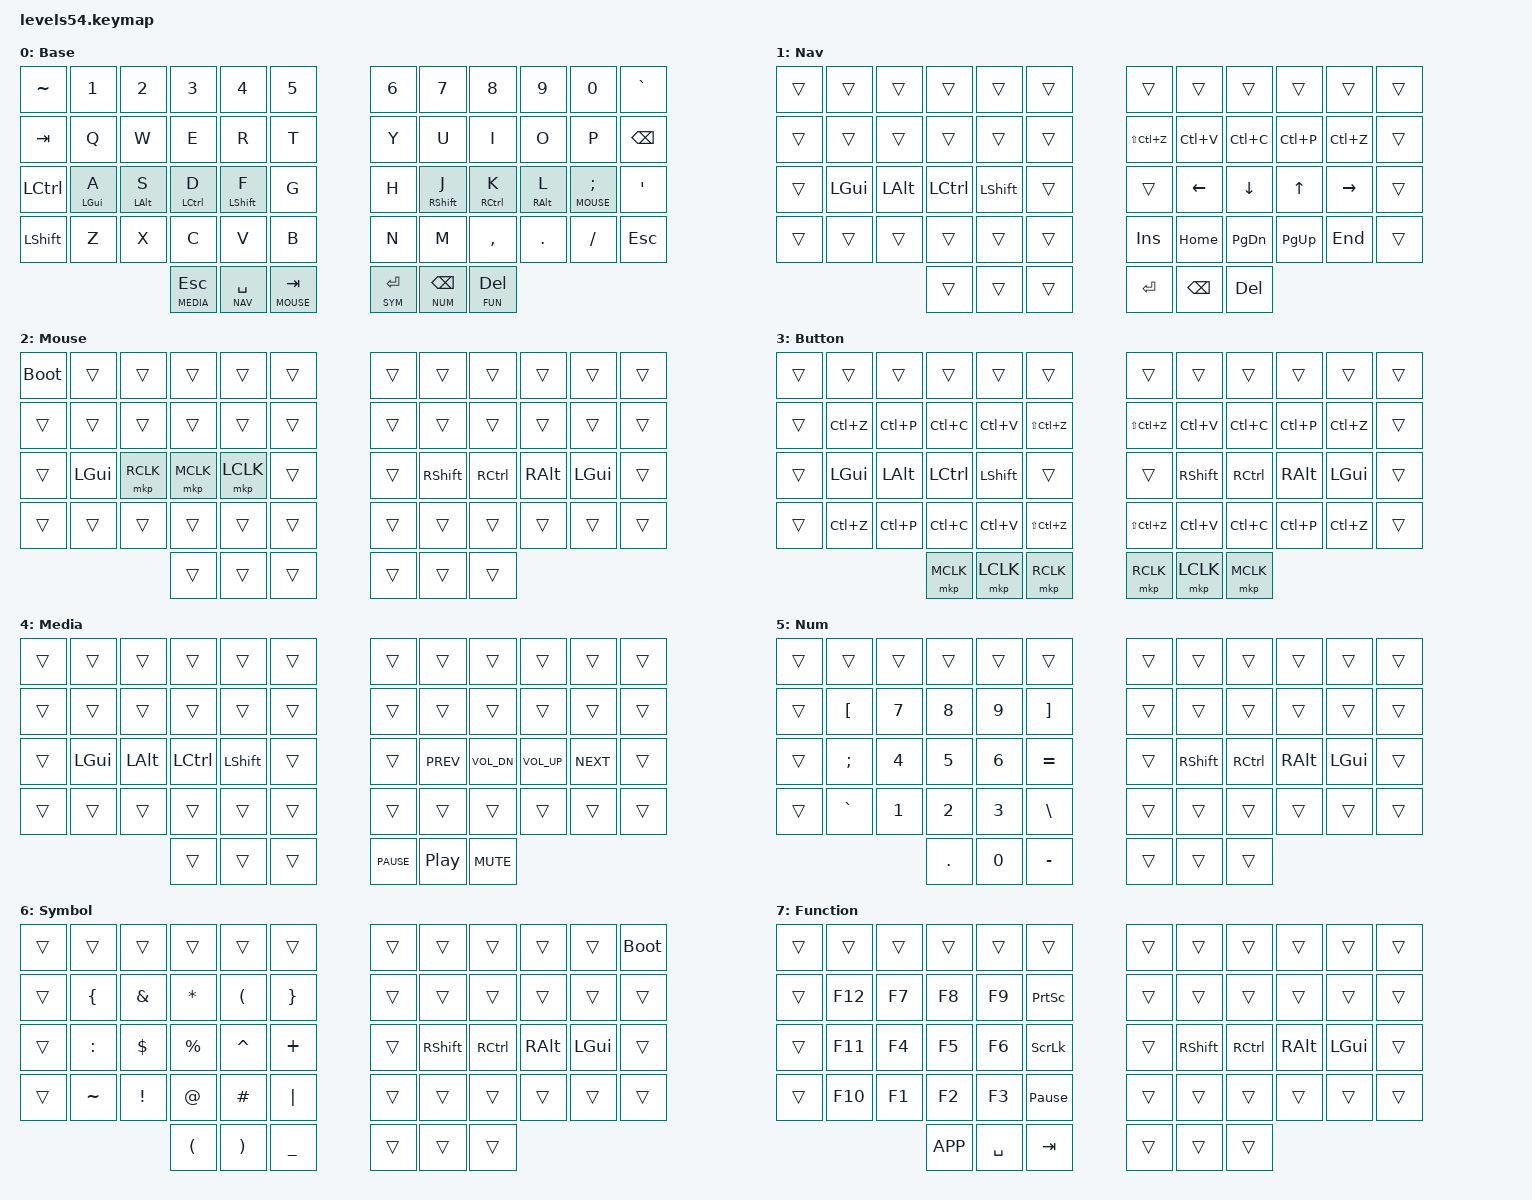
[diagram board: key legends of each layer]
#include <behaviors.dtsi>
#include <dt-bindings/zmk/bt.h>
#include <dt-bindings/zmk/keys.h>
#include <dt-bindings/zmk/outputs.h>
#include <dt-bindings/zmk/pointing.h>

#define BASE   0
#define NAV    1
#define MOUSE  2
#define BUTTON 3
#define MEDIA  4
#define NUM    5
#define SYM    6
#define FUN    7

/*
 0  1  2  3  4  5      6  7  8  9 10 11
12 13 14 15 16 17     18 19 20 21 22 23
24 25 26 27 28 29     30 31 32 33 34 35
36 37 38 39 40 41     42 43 44 45 46 47
         48 49 50     51 52 53

&trans &trans &trans &trans &trans &trans   &trans &trans &trans &trans &trans &trans
&trans &trans &trans &trans &trans &trans   &trans &trans &trans &trans &trans &trans
&trans &trans &trans &trans &trans &trans   &trans &trans &trans &trans &trans &trans
&trans &trans &trans &trans &trans &trans   &trans &trans &trans &trans &trans &trans
                    &trans  &trans  &trans   &trans  &trans  &trans
*/

/ {
    behaviors {
        mtl: mod_tap_left {
            compatible = "zmk,behavior-hold-tap";
            #binding-cells = <2>;
            flavor = "hold-preferred";
            tapping-term-ms = <400>;
            quick-tap-ms = <200>;
            bindings = <&kp>, <&kp>;
            hold-trigger-key-positions = <
                                     6  7  8  9 10 11
                                     18 19 20 21 22 23
                                     30 31 32 33 34 35
                                     42 43 44 45 46 47
                        48 49 50     51 52 53
            >;
        };
        mtm: mod_tap_meta {
            compatible = "zmk,behavior-hold-tap";
            #binding-cells = <2>;
            flavor = "hold-preferred";
            tapping-term-ms = <400>;
            quick-tap-ms = <200>;
            bindings = <&kp>, <&kp>;
            hold-trigger-key-positions = <
                                     6  7  8  9 10 11
                                     18 19    21 22 23 // Meta i opens KDE system quick settings.
                                     30 31 32    34 35 // Stop locking the system accidentally.
                                     42 43 44 45 46 47
                        48 49 50     51 52 53
            >;
        };
        mtal: mod_tap_alt_left {
            compatible = "zmk,behavior-hold-tap";
            #binding-cells = <2>;
            flavor = "hold-preferred";
            tapping-term-ms = <400>;
            quick-tap-ms = <200>;
            bindings = <&kp>, <&kp>;
            hold-trigger-key-positions = <
                                     6  7  8  9 10 11
                                     18 19 20 21 22 23
                                        31 32 33 34 35 // s,h is too common for modtap.
                                     42 43 44 45 46 47
                        48 49 50     51 52 53
            >;
        };
        mtr: mod_tap_right {
            compatible = "zmk,behavior-hold-tap";
            #binding-cells = <2>;
            flavor = "hold-preferred";
            tapping-term-ms = <400>;
            quick-tap-ms = <200>;
            bindings = <&kp>, <&kp>;
            hold-trigger-key-positions = <
                0  1  2  3  4  5
                12 13 14 15 16 17
                24 25 26 27 28 29
                36 37 38 39 40 41
                        48 49 50     51 52 53
            >;
        };
        ltq: layer_tap_quick {
            compatible = "zmk,behavior-hold-tap";
            #binding-cells = <2>;
            flavor = "hold-preferred";
            tapping-term-ms = <200>;
            bindings = <&mo>, <&kp>;
            quick-tap-ms = <150>; // Double tap in 150ms = hold tap key
        };
    };

    keymap {
        compatible = "zmk,keymap";

        base {
            display-name = "Base";
            bindings = <
                &kp TILDE &kp N1       &kp N2        &kp N3        &kp N4         &kp N5   &kp N6 &kp N7         &kp N8           &kp N9        &kp N0         &kp GRAVE
                &kp TAB   &kp Q        &kp W         &kp E         &kp R          &kp T    &kp Y  &kp U          &kp I            &kp O         &kp P          &kp BSPC
                &kp LCTRL &mtm LGUI A  &mtal LALT S  &mtl LCTRL D  &mtl LSHIFT F  &kp G    &kp H  &mtr RSHIFT J  &mtr RCTRL K     &mtr RALT L   &lt MOUSE SEMI &kp SQT
                &kp LSHFT &kp Z        &kp X         &kp C         &kp V          &kp B    &kp N  &kp M          &kp COMMA        &kp DOT       &kp FSLH       &kp ESC
                                         &ltq MEDIA ESC  &ltq NAV SPACE  &ltq MOUSE TAB    &ltq SYM RET  &ltq NUM BACKSPACE  &ltq FUN DELETE
            >;
        };

        nav {
            display-name = "Nav";
            bindings = <
                &trans &trans    &trans    &trans     &trans     &trans   &trans        &trans    &trans    &trans    &trans    &trans
                &trans &trans    &trans    &trans     &trans     &trans   &kp LS(LC(Z)) &kp LC(V) &kp LC(C) &kp LC(P) &kp LC(Z) &trans
                &trans &kp LGUI  &kp LALT  &kp LCTRL  &kp LSHIFT &trans   &trans        &kp LEFT  &kp DOWN  &kp UP    &kp RIGHT &trans
                &trans &trans    &trans    &trans     &trans     &trans   &kp INSERT    &kp HOME  &kp PG_DN &kp PG_UP &kp END   &trans
                                                 &trans  &trans  &trans   &kp RET  &kp BACKSPACE  &kp DELETE
            >;
        };

        mouse {
            display-name = "Mouse";
            bindings = <
                &bootloader &trans    &trans     &trans    &trans    &trans   &trans &trans     &trans    &trans    &trans   &trans
                &trans      &trans    &trans     &trans    &trans    &trans   &trans &trans     &trans    &trans    &trans   &trans
                &trans      &kp LGUI  &mkp RCLK  &mkp MCLK &mkp LCLK &trans   &trans &kp RSHIFT &kp RCTRL &kp RALT  &kp LGUI &trans
                &trans      &trans    &trans     &trans    &trans    &trans   &trans &trans     &trans    &trans    &trans   &trans
                                                     &trans  &trans  &trans   &trans  &trans  &trans
            >;
        };

        button {
            display-name = "Button";
            bindings = <
                &trans &trans    &trans    &trans    &trans     &trans          &trans        &trans     &trans    &trans    &trans    &trans
                &trans &kp LC(Z) &kp LC(P) &kp LC(C) &kp LC(V)  &kp LS(LC(Z))   &kp LS(LC(Z)) &kp LC(V)  &kp LC(C) &kp LC(P) &kp LC(Z) &trans
                &trans &kp LGUI  &kp LALT  &kp LCTRL &kp LSHIFT &trans          &trans        &kp RSHIFT &kp RCTRL &kp RALT  &kp LGUI  &trans
                &trans &kp LC(Z) &kp LC(P) &kp LC(C) &kp LC(V)  &kp LS(LC(Z))   &kp LS(LC(Z)) &kp LC(V)  &kp LC(C) &kp LC(P) &kp LC(Z) &trans
                                              &mkp MCLK  &mkp LCLK  &mkp RCLK   &mkp RCLK  &mkp LCLK  &mkp MCLK
            >;
        };

        media {
            display-name = "Media";
            bindings = <
                &trans &trans    &trans    &trans     &trans     &trans   &trans     &trans     &trans        &trans       &trans     &trans
                &trans &trans    &trans    &trans     &trans     &trans   &trans     &trans     &trans        &trans       &trans     &trans
                &trans &kp LGUI  &kp LALT  &kp LCTRL  &kp LSHIFT &trans   &trans     &kp C_PREV &kp C_VOL_DN  &kp C_VOL_UP &kp C_NEXT &trans
                &trans &trans    &trans    &trans     &trans     &trans   &trans     &trans     &trans        &trans       &trans     &trans
                                                 &trans  &trans  &trans   &kp C_PAUSE  &kp C_PLAY_PAUSE  &kp C_MUTE
            >;
        };

        num {
            display-name = "Num";
            bindings = <
                &trans &trans    &trans &trans &trans &trans          &trans &trans     &trans    &trans    &trans   &trans
                &trans &kp LBKT  &kp N7 &kp N8 &kp N9 &kp RBKT        &trans &trans     &trans    &trans    &trans   &trans
                &trans &kp SEMI  &kp N4 &kp N5 &kp N6 &kp EQUAL       &trans &kp RSHIFT &kp RCTRL &kp RALT  &kp LGUI &trans
                &trans &kp GRAVE &kp N1 &kp N2 &kp N3 &kp BACKSLASH   &trans &trans     &trans    &trans    &trans   &trans
                                      &kp PERIOD  &kp N0  &kp MINUS   &trans  &trans  &trans
            >;
        };

        sym {
            display-name = "Symbol";
            bindings = <
                &trans &trans    &trans     &trans      &trans    &trans     &trans &trans     &trans    &trans    &trans   &bootloader
                &trans &kp LBRC  &kp AMPS   &kp STAR    &kp LPAR  &kp RBRC   &trans &trans     &trans    &trans    &trans   &trans
                &trans &kp COLON &kp DOLLAR &kp PERCENT &kp CARET &kp PLUS   &trans &kp RSHIFT &kp RCTRL &kp RALT  &kp LGUI &trans
                &trans &kp TILDE &kp EXCL   &kp AT      &kp HASH  &kp PIPE   &trans &trans     &trans    &trans    &trans   &trans
                                             &kp LPAR  &kp RPAR  &kp UNDER   &trans  &trans  &trans
            >;
        };

        fun {
            display-name = "Function";
            bindings = <
                &trans &trans  &trans &trans &trans &trans            &trans &trans     &trans    &trans    &trans   &trans
                &trans &kp F12 &kp F7 &kp F8 &kp F9 &kp PRINTSCREEN   &trans &trans     &trans    &trans    &trans   &trans
                &trans &kp F11 &kp F4 &kp F5 &kp F6 &kp SCROLLLOCK    &trans &kp RSHIFT &kp RCTRL &kp RALT  &kp LGUI &trans
                &trans &kp F10 &kp F1 &kp F2 &kp F3 &kp PAUSE_BREAK   &trans &trans     &trans    &trans    &trans   &trans
                                      &kp K_APP  &kp SPACE  &kp TAB   &trans  &trans  &trans
            >;
        };
    };
};
